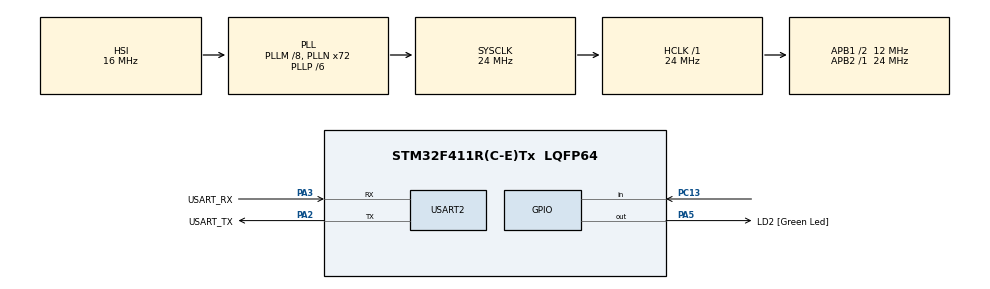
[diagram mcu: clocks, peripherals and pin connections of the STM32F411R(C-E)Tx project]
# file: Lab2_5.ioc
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Mcu.Family=STM32F4
Mcu.Name=STM32F411R(C-E)Tx
Mcu.Package=LQFP64
NVIC.PriorityGroup=NVIC_PRIORITYGROUP_0
PA13.GPIO_Label=TMS
PA13.Mode=Serial_Wire
PA13.Signal=SYS_JTMS-SWDIO
PA14.GPIO_Label=TCK
PA14.Mode=Serial_Wire
PA14.Signal=SYS_JTCK-SWCLK
PA2.GPIO_Label=USART_TX
PA2.Mode=Asynchronous
PA2.Signal=USART2_TX
PA3.GPIO_Label=USART_RX
PA3.Mode=Asynchronous
PA3.Signal=USART2_RX
PA5.GPIO_Label=LD2 [Green Led]
PA5.Signal=GPIO_Output
PB3.GPIO_Label=SWO
PB3.Signal=SYS_JTDO-SWO
PC13-ANTI_TAMP.GPIO_PuPd=GPIO_PULLUP
PC13-ANTI_TAMP.Signal=GPIO_Input
PC14-OSC32_IN.Mode=LSE-External-Oscillator
PC14-OSC32_IN.Signal=RCC_OSC32_IN
PC15-OSC32_OUT.Mode=LSE-External-Oscillator
PC15-OSC32_OUT.Signal=RCC_OSC32_OUT
PH0\ -\ OSC_IN.Mode=HSE-External-Clock-Source
PH0\ -\ OSC_IN.Signal=RCC_OSC_IN
PH1\ -\ OSC_OUT.Mode=HSE-External-Clock-Source
PH1\ -\ OSC_OUT.Signal=RCC_OSC_OUT
ProjectManager.HeapSize=0x200
ProjectManager.StackSize=0x400
ProjectManager.TargetToolchain=STM32CubeIDE
RCC.48MHZClocksFreq_Value=36000000
RCC.AHBFreq_Value=24000000
RCC.APB1CLKDivider=RCC_HCLK_DIV2
RCC.APB1Freq_Value=12000000
RCC.APB1TimFreq_Value=24000000
RCC.APB2Freq_Value=24000000
RCC.APB2TimFreq_Value=24000000
RCC.CortexFreq_Value=24000000
RCC.FLatency-AdvancedSettings=FLASH_LATENCY_0
RCC.HCLKFreq_Value=24000000
RCC.HSE_VALUE=8000000
RCC.HSI_VALUE=16000000
RCC.PLLM=8
RCC.PLLN=72
RCC.PLLP=RCC_PLLP_DIV6
RCC.SYSCLKFreq_VALUE=24000000
RCC.SYSCLKSource=RCC_SYSCLKSOURCE_PLLCLK
RCC.VCOOutputFreq_Value=144000000
USART2.VirtualMode=VM_ASYNC
board=NUCLEO-F411RE

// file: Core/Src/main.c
/* USER CODE BEGIN Header */
/**
  ******************************************************************************
  * @file           : main.c
  * @brief          : Main program body
  ******************************************************************************
  * @attention
  *
  * Copyright (c) 2026 STMicroelectronics.
  * All rights reserved.
  *
  * This software is licensed under terms that can be found in the LICENSE file
  * in the root directory of this software component.
  * If no LICENSE file comes with this software, it is provided AS-IS.
  *
  ******************************************************************************
  */
/* USER CODE END Header */
#include "main.h"

/* USER CODE BEGIN Includes */
#include <string.h>
/* USER CODE END Includes */

UART_HandleTypeDef huart2;

void SystemClock_Config(void);
static void MX_GPIO_Init(void);
static void MX_USART2_UART_Init(void);

int main(void)
{

  /* USER CODE BEGIN 1 */
	char rx_buffer[5];
	int rx_idx = 0;
	uint8_t rx_char;

  /* USER CODE END 1 */

  /* MCU Configuration--------------------------------------------------------*/

  /* Reset of all peripherals, Initializes the Flash interface and the Systick. */
  HAL_Init();

  /* Configure the system clock */
  SystemClock_Config();

  /* Initialize all configured peripherals */
  MX_GPIO_Init();
  MX_USART2_UART_Init();

  /* Infinite loop */
  /* USER CODE BEGIN WHILE */
  while (1)
  {
	  if (HAL_UART_Receive(&huart2, &rx_char, 1, 10) == HAL_OK) {
		  HAL_UART_Transmit(&huart2, &rx_char, 1, 10);

		  if (rx_char == '\r' || rx_char == '\n') {
			  rx_buffer[rx_idx] = '\0';

			  if (strcmp(rx_buffer, "on") == 0) HAL_GPIO_WritePin(GPIOA, GPIO_PIN_5, GPIO_PIN_SET);
			  else if (strcmp(rx_buffer, "off") == 0) HAL_GPIO_WritePin(GPIOA, GPIO_PIN_5, GPIO_PIN_RESET);
			  else if (rx_idx > 0) HAL_UART_Transmit(&huart2, (uint8_t*)"\r\nUnknown command", 17, 10);

			  HAL_UART_Transmit(&huart2, (uint8_t*)"\r\n", 2, 10);

			  rx_idx = 0;

		  } else {
			  if (rx_idx < sizeof(rx_buffer) - 1) rx_buffer[rx_idx++] = (char)rx_char;
		  }
	  }
    /* USER CODE END WHILE */

  }
}

void SystemClock_Config(void)
{
  RCC_OscInitTypeDef RCC_OscInitStruct = {0};
  RCC_ClkInitTypeDef RCC_ClkInitStruct = {0};

  /** Configure the main internal regulator output voltage
  */
  __HAL_RCC_PWR_CLK_ENABLE();
  __HAL_PWR_VOLTAGESCALING_CONFIG(PWR_REGULATOR_VOLTAGE_SCALE1);

  /** Initializes the RCC Oscillators according to the specified parameters
  * in the RCC_OscInitTypeDef structure.
  */
  RCC_OscInitStruct.OscillatorType = RCC_OSCILLATORTYPE_HSI;
  RCC_OscInitStruct.HSIState = RCC_HSI_ON;
  RCC_OscInitStruct.HSICalibrationValue = RCC_HSICALIBRATION_DEFAULT;
  RCC_OscInitStruct.PLL.PLLState = RCC_PLL_ON;
  RCC_OscInitStruct.PLL.PLLSource = RCC_PLLSOURCE_HSI;
  RCC_OscInitStruct.PLL.PLLM = 8;
  RCC_OscInitStruct.PLL.PLLN = 72;
  RCC_OscInitStruct.PLL.PLLP = RCC_PLLP_DIV6;
  RCC_OscInitStruct.PLL.PLLQ = 4;
  if (HAL_RCC_OscConfig(&RCC_OscInitStruct) != HAL_OK)
  {
    Error_Handler();
  }

  /** Initializes the CPU, AHB and APB buses clocks
  */
  RCC_ClkInitStruct.ClockType = RCC_CLOCKTYPE_HCLK|RCC_CLOCKTYPE_SYSCLK
                              |RCC_CLOCKTYPE_PCLK1|RCC_CLOCKTYPE_PCLK2;
  RCC_ClkInitStruct.SYSCLKSource = RCC_SYSCLKSOURCE_PLLCLK;
  RCC_ClkInitStruct.AHBCLKDivider = RCC_SYSCLK_DIV1;
  RCC_ClkInitStruct.APB1CLKDivider = RCC_HCLK_DIV2;
  RCC_ClkInitStruct.APB2CLKDivider = RCC_HCLK_DIV1;

  if (HAL_RCC_ClockConfig(&RCC_ClkInitStruct, FLASH_LATENCY_0) != HAL_OK)
  {
    Error_Handler();
  }
}

static void MX_USART2_UART_Init(void)
{

  huart2.Instance = USART2;
  huart2.Init.BaudRate = 115200;
  huart2.Init.WordLength = UART_WORDLENGTH_8B;
  huart2.Init.StopBits = UART_STOPBITS_1;
  huart2.Init.Parity = UART_PARITY_NONE;
  huart2.Init.Mode = UART_MODE_TX_RX;
  huart2.Init.HwFlowCtl = UART_HWCONTROL_NONE;
  huart2.Init.OverSampling = UART_OVERSAMPLING_16;
  if (HAL_UART_Init(&huart2) != HAL_OK)
  {
    Error_Handler();
  }

}

static void MX_GPIO_Init(void)
{
  GPIO_InitTypeDef GPIO_InitStruct = {0};

  /* GPIO Ports Clock Enable */
  __HAL_RCC_GPIOC_CLK_ENABLE();
  __HAL_RCC_GPIOH_CLK_ENABLE();
  __HAL_RCC_GPIOA_CLK_ENABLE();
  __HAL_RCC_GPIOB_CLK_ENABLE();

  /*Configure GPIO pin Output Level */
  HAL_GPIO_WritePin(LD2_GPIO_Port, LD2_Pin, GPIO_PIN_RESET);

  /*Configure GPIO pin : PC13 */
  GPIO_InitStruct.Pin = GPIO_PIN_13;
  GPIO_InitStruct.Mode = GPIO_MODE_INPUT;
  GPIO_InitStruct.Pull = GPIO_PULLUP;
  HAL_GPIO_Init(GPIOC, &GPIO_InitStruct);

  /*Configure GPIO pin : LD2_Pin */
  GPIO_InitStruct.Pin = LD2_Pin;
  GPIO_InitStruct.Mode = GPIO_MODE_OUTPUT_PP;
  GPIO_InitStruct.Pull = GPIO_NOPULL;
  GPIO_InitStruct.Speed = GPIO_SPEED_FREQ_LOW;
  HAL_GPIO_Init(LD2_GPIO_Port, &GPIO_InitStruct);

}

void Error_Handler(void)
{
  __disable_irq();
  while (1)
  {
  }
}
